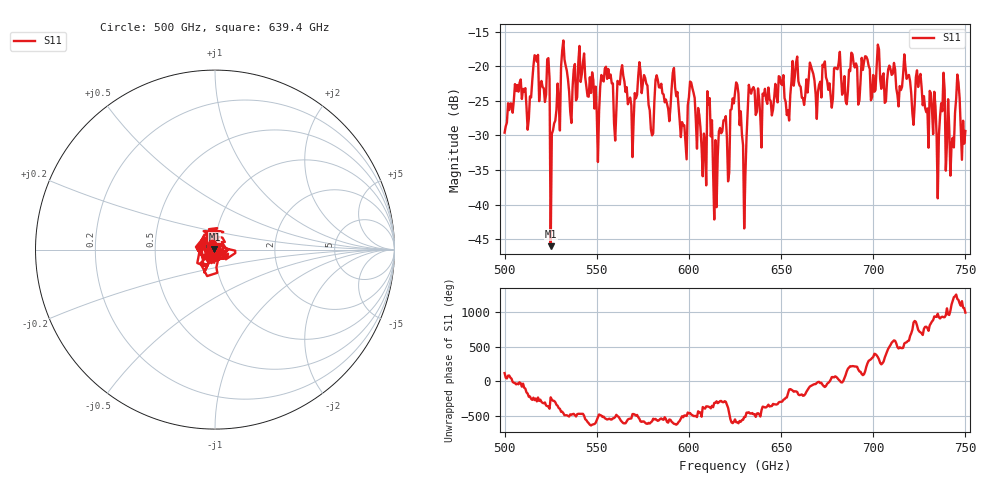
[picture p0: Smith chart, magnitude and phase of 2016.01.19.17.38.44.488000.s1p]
!Created with skrf (http://scikit-rf.org).
# GHz S RI R 50.0
!freq ReS11 ImS11
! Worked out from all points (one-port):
!   401 points, 500 GHz to 750 GHz, reference 50 ohm
!   lowest |S11| = -46.0 dB at 525 GHz (marker M1), VSWR 1.01, Z = 49.7 + j0.412 ohm
!   |S11| at or under -10 dB: start of sweep to end of sweep
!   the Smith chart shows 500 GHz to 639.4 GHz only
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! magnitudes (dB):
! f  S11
! 500 GHz  -29.6
! 513.1 GHz  -27.6
! 516.9 GHz  -18.5
! 523.1 GHz  -19.0
! 525 GHz  -46.0
! 531.2 GHz  -17.7
! 550 GHz  -26.7
! 562.5 GHz  -22.6
! 568.8 GHz  -25.6
! 573.8 GHz  -20.7
! 579.4 GHz  -29.1
! 583.1 GHz  -22.0
! 593.8 GHz  -23.7
! 597.5 GHz  -28.5
! 601.9 GHz  -23.2
! 608.1 GHz  -29.7
! 611.2 GHz  -24.6
! 614.4 GHz  -30.7
! 625 GHz  -23.8
! 630 GHz  -43.5
! 633.8 GHz  -24.0
! 656.2 GHz  -19.2
! 687.5 GHz  -20.7
! 718.8 GHz  -21.4
! 735 GHz  -39.1
! 742.5 GHz  -31.2
! 745.6 GHz  -21.2
! 750 GHz  -29.4
